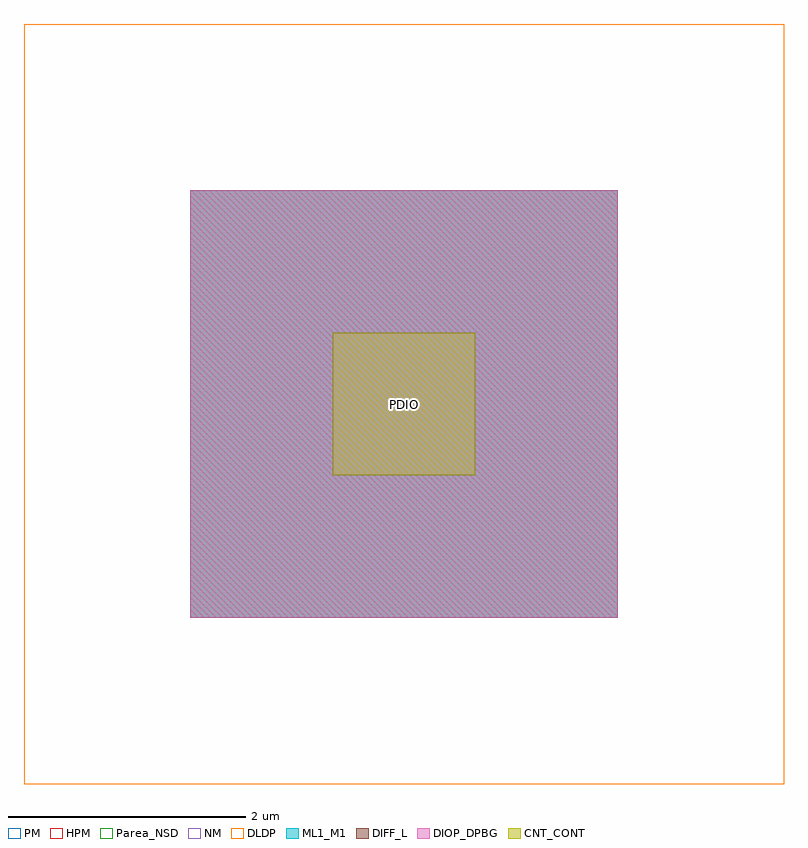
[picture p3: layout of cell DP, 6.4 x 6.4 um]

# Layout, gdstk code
import gdstk
lib = gdstk.Library(unit=1e-6, precision=1e-09)
def R(c, l, rs):  # rectangles x0, y0, x1, y1
    for r in rs: c.add(gdstk.rectangle(r[:2], r[2:], *l))
DIFF_L = (3, 0)
NM = (7, 0)
CNT_CONT = (11, 0)
ML1_M1 = (13, 0)
Parea_NSD = (28, 0)
HPM = (33, 0)
PM = (35, 0)
DIOP_DPBG = (116, 0)
DLDP = (167, 0)

c_dp = lib.new_cell('DP')
R(c_dp, DIFF_L, [(0,-1.8,3.6,1.8)])
R(c_dp, NM, [(-1.4,-3.2,5,3.2)])
R(c_dp, CNT_CONT, [(1.2,-0.6,2.4,0.6)])
R(c_dp, ML1_M1, [(0,-1.8,3.6,1.8), (0,-1.8,3.6,1.8)])
R(c_dp, Parea_NSD, [(-1.4,-3.2,5,3.2)])
R(c_dp, HPM, [(-1.4,-3.2,5,3.2)])
R(c_dp, PM, [(-1.4,-3.2,5,3.2)])
R(c_dp, DIOP_DPBG, [(0,-1.8,3.6,1.8)])
R(c_dp, DLDP, [(-1.4,-3.2,5,3.2)])
c_dp.add(gdstk.Label('PDIO', (1.8,0), layer=3, texttype=0))

lib.write_gds('DP.gds')
